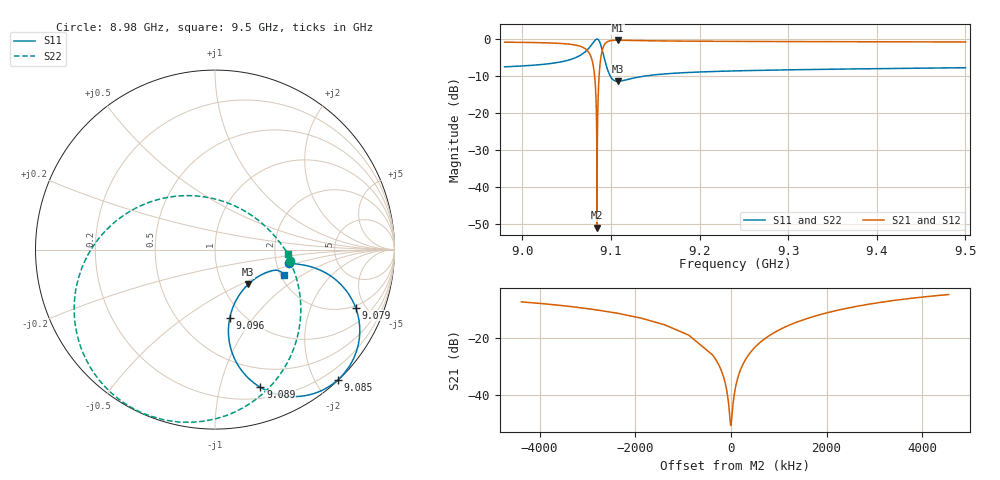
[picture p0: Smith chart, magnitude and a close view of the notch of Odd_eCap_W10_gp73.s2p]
! Sonnet Data File
! From: emgraph Version : 16.52
! From Project: Resonator2_extremeCap2
! Data is De-embedded
! Data File Written: 10/10/2017 13:11:38
!< HDATE 10/10/2017 08:28:44
!< MDATE 10/10/2017 08:28:44
!< PARAMS
!< Pwid1 = 2000.0
!< Pwid2 = 2000.0
!< Air_gap = 6.0
!< Width = 10.0
!< Gap = 73.0
!< END PARAMS
# GHZ S MA R 35.98000
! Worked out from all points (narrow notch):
!   1635 points, 8.98 GHz to 9.5 GHz, reference 35.98 ohm
!   highest |S21| = -0.33 dB at 9.108 GHz (marker M1); lowest = -51.0 dB at 9.084 GHz (marker M2)
!   notch at M2: 50.2 dB deep, 759 kHz wide at half that depth
!   lowest |S11| = -11.4 dB at 9.108 GHz (marker M3), VSWR 1.73, Z = 47.6 - j19.9 ohm
!   |S11| at or under -10 dB: 9.099211 GHz to 9.138408 GHz (39.2 MHz wide, 0.43 % of centre)
!   |S22| runs from -11.5 to 0.0 dB; largest |S21 - S12| = 0
!   S11 on the Smith chart (normalised r, x): 8.98 GHz: 2.36, -0.43; 9.079 GHz: 1.87, -4.27; 9.085 GHz: 0.01, -2.32; 9.089 GHz: 0.30, -1.34; 9.096 GHz: 0.86, -0.77; 9.5 GHz: 2.08, -0.72
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8.98  0.4211 -10.3  0.907 -99.5  0.907 -99.5  0.4211 -8.6
!< P1 F=8.98 Eeff=(5.37116343 -2.3769e-5) Z0=(35.9716001 8.05996e-5) R=0.0 C=0.0
!< P2 F=8.98 Eeff=(5.37116343 -2.3769e-5) Z0=(35.9716001 8.05996e-5) R=0.0 C=0.0
9.041  0.4848 -9.9  0.8746 -104.9  0.8746 -104.9  0.4847 -20.0
9.067  0.6194 -11.6  0.7847 -115.7  0.7847 -115.7  0.6191 -40.0
9.0785  0.8471 -22.4  0.5296 -136.9  0.5296 -136.9  0.8463 -71.7
9.084  0.9967 -43.7  0.05033 -164.3  0.05033 -164.3  0.9952 -111.2
9.084101  0.9972 -44.2  0.03716 -164.0  0.03716 -164.0  0.9957 -112.2
9.084241  0.9977 -45.0  0.01886 -160.8  0.01886 -160.8  0.9962 -113.6
9.084382  0.9979 -45.9  0.002832 -74.6  0.002832 -74.6  0.9963 -115.0
9.084515  0.9977 -46.6  0.01846 -0.4  0.01846 -0.4  0.9961 -116.4
9.084675  0.997 -47.6  0.04021 3.1  0.04021 3.1  0.9954 -118.0
9.084869  0.9955 -48.8  0.06707 3.1  0.06707 3.1  0.9939 -120.1
9.085585  0.9834 -53.2  0.1682 -1.5  0.1682 -1.5  0.9817 -127.8
9.087016  0.9271 -62.0  0.3686 -13.4  0.3686 -13.4  0.9253 -143.8
9.088834  0.8079 -71.8  0.5858 -28.2  0.5858 -28.2  0.8061 -164.1
9.092006  0.5803 -80.6  0.8127 -48.2  0.8127 -48.2  0.5786 164.6
9.096  0.3916 -78.0  0.9193 -63.3  0.9193 -63.3  0.3903 131.6
9.107718  0.2678 -46.3  0.9633 -80.6  0.9633 -80.6  0.2673 65.2
9.153376  0.3319 -21.1  0.9433 -92.6  0.9433 -92.6  0.3319 15.8
9.24  0.371 -18.3  0.9286 -96.9  0.9286 -96.9  0.371 4.4
9.327  0.3878 -18.7  0.9217 -99.0  0.9217 -99.0  0.3878 0.7
9.4135  0.3995 -19.5  0.9167 -100.6  0.9167 -100.6  0.3995 -1.6
9.5  0.4095 -20.6  0.9123 -102.0  0.9123 -102.0  0.4095 -3.5
